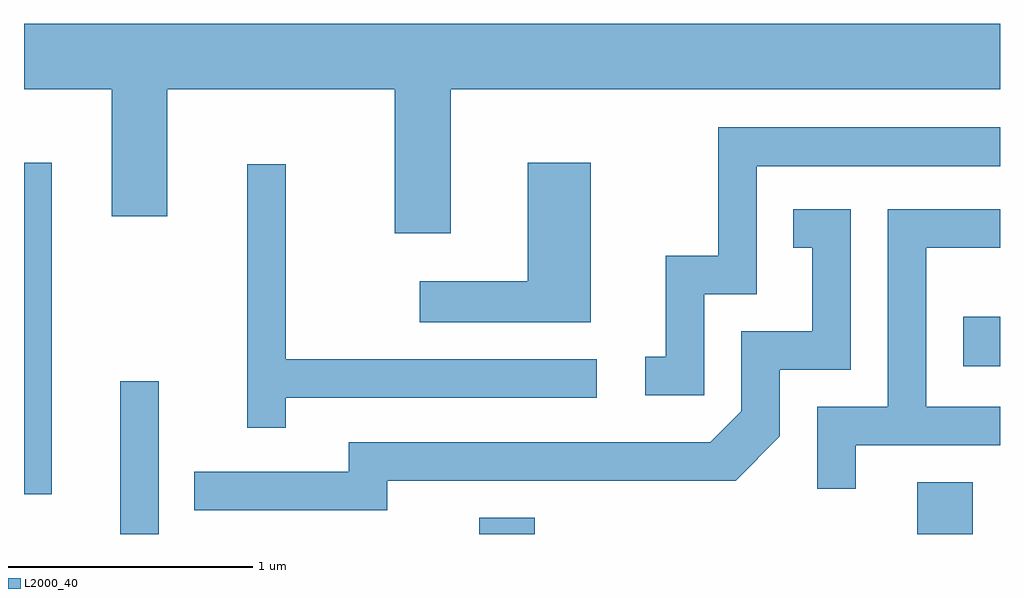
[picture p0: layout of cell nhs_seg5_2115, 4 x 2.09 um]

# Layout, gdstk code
import gdstk
lib = gdstk.Library(unit=1e-6, precision=1e-09)
def R(c, l, rs):  # rectangles x0, y0, x1, y1
    for r in rs: c.add(gdstk.rectangle(r[:2], r[2:], *l))
def P(c, l, *ps):  # polygons
    for p in ps: c.add(gdstk.Polygon(p, *l))
L2000_40 = (2000, 40)

nhs_seg5_2115 = lib.new_cell('nhs_seg5_2115')
R(nhs_seg5_2115, L2000_40, [(248.006,1466.072,248.164,1466.698), (249.476,1466.072,249.704,1466.139), (251.271,1466.072,251.499,1466.284), (247.611,1466.236,247.724,1467.594), (251.461,1466.761,251.611,1466.964)])
P(nhs_seg5_2115, L2000_40, [(249.359,1467.896),(251.611,1467.896),(251.611,1468.164),(247.611,1468.164),(247.611,1467.896),(247.971,1467.896),(247.971,1467.376),(248.199,1467.376),(248.199,1467.896),(249.131,1467.896),(249.131,1467.306),(249.359,1467.306)],
  [(250.399,1467.056),(250.614,1467.056),(250.614,1467.581),(251.611,1467.581),(251.611,1467.739),(250.456,1467.739),(250.456,1467.214),(250.241,1467.214),(250.241,1466.799),(250.158,1466.799),(250.158,1466.641),(250.399,1466.641)],
  [(249.934,1467.594),(249.676,1467.594),(249.676,1467.109),(249.233,1467.109),(249.233,1466.941),(249.934,1466.941)],
  [(248.684,1466.631),(249.958,1466.631),(249.958,1466.789),(248.684,1466.789),(248.684,1467.588),(248.526,1467.588),(248.526,1466.508),(248.684,1466.508)],
  [(251.019,1466.436),(251.611,1466.436),(251.611,1466.594),(251.309,1466.594),(251.309,1467.246),(251.611,1467.246),(251.611,1467.404),(251.151,1467.404),(251.151,1466.594),(250.861,1466.594),(250.861,1466.258),(251.019,1466.258)],
  [(249.099,1466.291),(250.527,1466.291),(250.709,1466.474),(250.709,1466.746),(250.999,1466.746),(250.999,1467.404),(250.763,1467.404),(250.763,1467.246),(250.841,1467.246),(250.841,1466.904),(250.551,1466.904),(250.551,1466.577),(250.424,1466.449),(248.941,1466.449),(248.941,1466.329),(248.308,1466.329),(248.308,1466.171),(249.099,1466.171)])

lib.write_gds('nhs_seg5_2115.gds')
